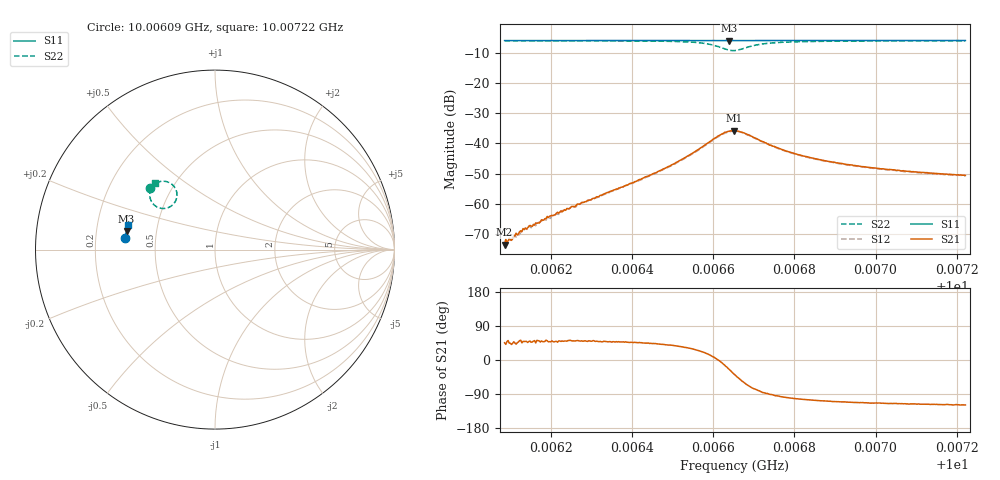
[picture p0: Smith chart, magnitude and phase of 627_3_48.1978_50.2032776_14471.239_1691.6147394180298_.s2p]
#  HZ  S  RI  R  50.00
! Rohde & Schwarz Vector Network Analyzer
! Rohde-Schwarz,ZNB20-2Port,1311601062101988,3.16
! Created: UTC 3/20/2024, 12:04:10 PM
! freq[Hz]  re:S11  im:S11  re:S21  im:S21  re:S12  im:S12  re:S22  im:S22
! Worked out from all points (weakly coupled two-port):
!   401 points, 10.00609 GHz to 10.00722 GHz, reference 50 ohm
!   highest |S21| = -35.76 dB at 10.00665 GHz (marker M1); lowest = -73.5 dB at 10.00609 GHz (marker M2)
!   lowest |S11| = -6.0 dB at 10.00664 GHz (marker M3), VSWR 3.02, Z = 16.7 + j4.52 ohm
!   |S11| at or under -10 dB: nowhere
!   |S22| runs from -9.3 to -6.0 dB; largest |S21 - S12| = 0.0013
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1.0006085e10  -0.4989 0.0658  0.000148 0.00015  0.000129 0.00016  -0.3634 0.3415
1.0006094e10  -0.4989 0.0665  0.000152 0.000191  0.000186 0.000166  -0.3631 0.3421
1.0006097e10  -0.4988 0.0665  0.000193 0.000191  0.000157 0.000197  -0.3628 0.3423
1.0006119e10  -0.4987 0.0681  0.000215 0.000237  0.000166 0.000252  -0.3614 0.3438
1.0006134e10  -0.4986 0.0691  0.00025 0.000286  0.000219 0.000303  -0.3605 0.3449
1.0006156e10  -0.4983 0.0705  0.000291 0.000345  0.000284 0.000365  -0.3589 0.3465
1.0006196e10  -0.4983 0.0731  0.000415 0.000467  0.000349 0.000472  -0.3562 0.3495
1.0006276e10  -0.4974 0.0782  0.000675 0.000818  0.000587 0.00086  -0.3494 0.3556
1.0006466e10  -0.4955 0.0907  0.0026 0.00235  0.00239 0.00242  -0.3197 0.3749
1.0006526e10  -0.4947 0.0948  0.0046 0.00314  0.00433 0.00329  -0.296 0.3807
1.0006582e10  -0.4938 0.0985  0.00931 0.00293  0.00888 0.0033  -0.2502 0.371
1.0006617e10  -0.4928 0.1003  0.0137 -0.000831  0.0135 -9.85e-05  -0.2153 0.3271
1.0006639e10  -0.4923 0.1012  0.0145 -0.00667  0.0145 -0.00574  -0.2193 0.2718
1.0006651e10  -0.4923 0.1017  0.0131 -0.00971  0.0134 -0.00865  -0.2383 0.2472
1.0006654e10  -0.4922 0.1017  0.0126 -0.0102  0.0131 -0.00934  -0.2446 0.2425
1.0006676e10  -0.4925 0.1028  0.00745 -0.0129  0.0081 -0.0123  -0.2978 0.2295
1.0006716e10  -0.4927 0.1054  0.00142 -0.0111  0.00199 -0.0108  -0.3501 0.2616
1.0006778e10  -0.4924 0.1096  -0.00115 -0.00746  -0.000722 -0.00741  -0.3636 0.3046
1.0006844e10  -0.4916 0.114  -0.00159 -0.00554  -0.00128 -0.00552  -0.3605 0.3273
1.0006932e10  -0.4905 0.1197  -0.00162 -0.00417  -0.00137 -0.00418  -0.3537 0.3441
1.0007034e10  -0.489 0.1263  -0.00155 -0.00338  -0.00137 -0.00338  -0.3463 0.3563
1.0007222e10  -0.4862 0.1381  -0.00142 -0.0026  -0.00124 -0.00262  -0.3344 0.3713
